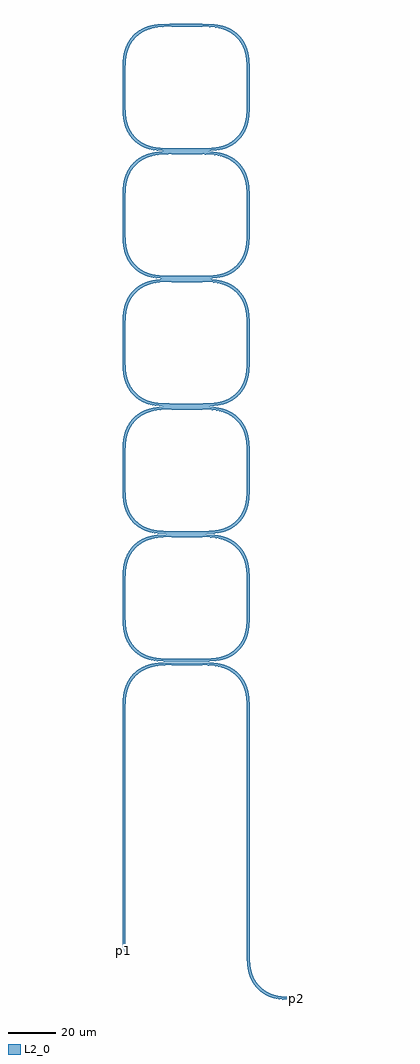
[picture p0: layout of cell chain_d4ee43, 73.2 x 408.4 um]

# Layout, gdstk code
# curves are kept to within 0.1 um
from math import pi, radians
import gdstk
lib = gdstk.Library(unit=1e-6, precision=1e-09)
def R(c, l, rs):  # rectangles x0, y0, x1, y1
    for r in rs: c.add(gdstk.rectangle(r[:2], r[2:], *l))
def P(c, l, *ps):  # polygons
    for p in ps: c.add(gdstk.Polygon(p, *l))
L2_0 = (2, 0)

bend_euler_gdsfactorypc_ = lib.new_cell('bend_euler_gdsfactorypc_f0601f7d')
P(bend_euler_gdsfactorypc_, L2_0, [(0,-0.6),(0,0.6),(5.886,0.821),(8.202,1.208),(10.126,1.77),(12.829,3.108),(15.079,4.921),(16.892,7.171),(18.23,9.874),(18.792,11.798),(19.179,14.114),(19.4,20),(20.6,20),(20.426,14.502),(19.7,10.515),(19.051,8.688),(18.238,7.072),(17.19,5.511),(16.013,4.159),(14.612,2.906),(13.003,1.806),(11.312,0.949),(9.618,0.339),(7.729,-0.116),(5.498,-0.426)])

straight_gdsfactorypcom_ = lib.new_cell('straight_gdsfactorypcom_4b85a3ac')
R(straight_gdsfactorypcom_, L2_0, [(0,-0.6,12,0.6)])

ring_resonator_euler_lx_ = lib.new_cell('ring_resonator_euler_LX_494c9b60')
ring_resonator_euler_lx_.add(gdstk.Reference(bend_euler_gdsfactorypc_, (0,0)))
ring_resonator_euler_lx_.add(gdstk.Reference(straight_gdsfactorypcom_, (20,20), rotation=pi/2))
ring_resonator_euler_lx_.add(gdstk.Reference(bend_euler_gdsfactorypc_, (20,32), rotation=pi/2))
ring_resonator_euler_lx_.add(gdstk.Reference(straight_gdsfactorypcom_, (0,52), rotation=pi))
ring_resonator_euler_lx_.add(gdstk.Reference(bend_euler_gdsfactorypc_, (-12,52), rotation=pi))
ring_resonator_euler_lx_.add(gdstk.Reference(straight_gdsfactorypcom_, (-32,32), rotation=3*pi/2, x_reflection=True))
ring_resonator_euler_lx_.add(gdstk.Reference(bend_euler_gdsfactorypc_, (-32,20), rotation=3*pi/2))
ring_resonator_euler_lx_.add(gdstk.Reference(straight_gdsfactorypcom_, (-12,0)))

c_straight_gdsfactorypcom_ = lib.new_cell('straight_gdsfactorypcom_1298df09')
R(c_straight_gdsfactorypcom_, L2_0, [(0,-0.6,100,0.6)])

io_coupler_1_l12_w1_2_r2 = lib.new_cell('io_Coupler_1_L12_w1.2_r20_8aa9d1')
io_coupler_1_l12_w1_2_r2.add(gdstk.Reference(straight_gdsfactorypcom_, (0,0)))
io_coupler_1_l12_w1_2_r2.add(gdstk.Reference(c_straight_gdsfactorypcom_, (-20,-20), rotation=3*pi/2))
io_coupler_1_l12_w1_2_r2.add(gdstk.Reference(c_straight_gdsfactorypcom_, (32,-20), rotation=3*pi/2))
io_coupler_1_l12_w1_2_r2.add(gdstk.Reference(bend_euler_gdsfactorypc_, (32,-20), rotation=pi/2))
io_coupler_1_l12_w1_2_r2.add(gdstk.Reference(bend_euler_gdsfactorypc_, (0,0), rotation=pi))
io_coupler_1_l12_w1_2_r2.add(gdstk.Reference(bend_euler_gdsfactorypc_, (32,-120), rotation=3*pi/2))

chain_d4ee43 = lib.new_cell('chain_d4ee43')
P(chain_d4ee43, L2_0, [(-32,-122.2),(-32.54,-121.66),(-32.45,-121.66),(-32,-122.116),(-32,-121.66),(-32.54,-121.66),(-32.6,-121.6),(-31.4,-121.6)],
  [(40,-142.2),(40,-141.6),(40.06,-141.6),(40.06,-142.05),(40.516,-141.6),(40,-141.6),(40,-141),(40.6,-141.6)])
chain_d4ee43.add(gdstk.Reference(ring_resonator_euler_lx_, (0,0)))
chain_d4ee43.add(gdstk.Reference(ring_resonator_euler_lx_, (0,53.4)))
chain_d4ee43.add(gdstk.Reference(ring_resonator_euler_lx_, (0,106.8)))
chain_d4ee43.add(gdstk.Reference(ring_resonator_euler_lx_, (0,160.2)))
chain_d4ee43.add(gdstk.Reference(ring_resonator_euler_lx_, (0,213.6)))
chain_d4ee43.add(gdstk.Reference(io_coupler_1_l12_w1_2_r2, (-12,-1.6)))
chain_d4ee43.add(gdstk.Label('p1', (-32,-121.6), layer=2, texttype=0))
chain_d4ee43.add(gdstk.Label('p2', (40,-141.6), layer=2, texttype=0))

lib.write_gds('chain_d4ee43.gds')
